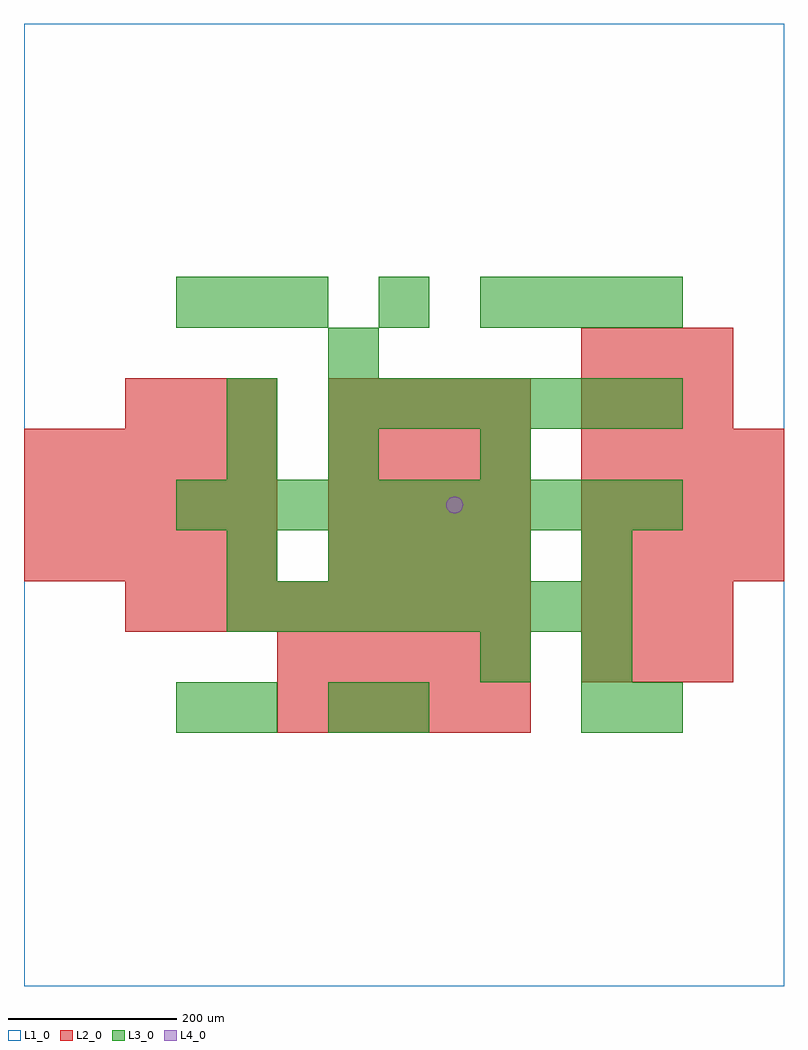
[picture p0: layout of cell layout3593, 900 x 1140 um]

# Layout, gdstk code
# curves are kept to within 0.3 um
import gdstk
lib = gdstk.Library(unit=1e-6, precision=1e-09)
def R(c, l, rs):  # rectangles x0, y0, x1, y1
    for r in rs: c.add(gdstk.rectangle(r[:2], r[2:], *l))
def A(c, l, x, y, w, h, nx, ny, dx, dy):  # array of equal rectangles
    R(c, l, [(x+i*dx, y+j*dy, x+i*dx+w, y+j*dy+h) for i in range(nx) for j in range(ny)])
def P(c, l, *ps):  # polygons
    for p in ps: c.add(gdstk.Polygon(p, *l))
L1_0 = (1, 0)
L2_0 = (2, 0)
L3_0 = (3, 0)
L4_0 = (4, 0)

layout3593 = lib.new_cell('layout3593')
R(layout3593, L1_0, [(0,0,900,1140)])
A(layout3593, L2_0, 300, 300, 60, 60, 5, 2, 60, 60)
A(layout3593, L2_0, 660, 360, 60, 60, 3, 2, 60, 60)
A(layout3593, L2_0, 120, 420, 60, 60, 8, 1, 60, 0)
A(layout3593, L2_0, 0, 480, 60, 60, 5, 3, 60, 60)
A(layout3593, L2_0, 360, 480, 60, 60, 4, 4, 60, 60)
A(layout3593, L2_0, 660, 480, 60, 60, 4, 3, 60, 60)
A(layout3593, L2_0, 120, 660, 60, 60, 3, 1, 60, 0)
A(layout3593, L2_0, 660, 660, 60, 60, 3, 2, 60, 60)
A(layout3593, L3_0, 240, 420, 60, 60, 8, 1, 60, 0)
A(layout3593, L3_0, 360, 480, 60, 60, 4, 1, 60, 0)
A(layout3593, L3_0, 180, 540, 60, 60, 10, 1, 60, 0)
A(layout3593, L3_0, 360, 660, 60, 60, 7, 1, 60, 0)
A(layout3593, L3_0, 180, 780, 60, 60, 3, 1, 60, 0)
A(layout3593, L3_0, 540, 780, 60, 60, 4, 1, 60, 0)
R(layout3593, L3_0, [(180,300,240,360), (240,300,300,360), (360,300,420,360), (420,300,480,360), (660,300,720,360), (720,300,780,360), (540,360,600,420), (660,360,720,420), (240,480,300,540), (660,480,720,540), (240,600,300,660), (360,600,420,660), (540,600,600,660), (240,660,300,720), (360,720,420,780), (420,780,480,840)])
P(layout3593, L4_0, [(520,570),(519.239,573.827),(517.071,577.071),(513.827,579.239),(510,580),(506.173,579.239),(502.929,577.071),(500.761,573.827),(500,570),(500.761,566.173),(502.929,562.929),(506.173,560.761),(510,560),(513.827,560.761),(517.071,562.929),(519.239,566.173)])

lib.write_gds('layout3593.gds')
